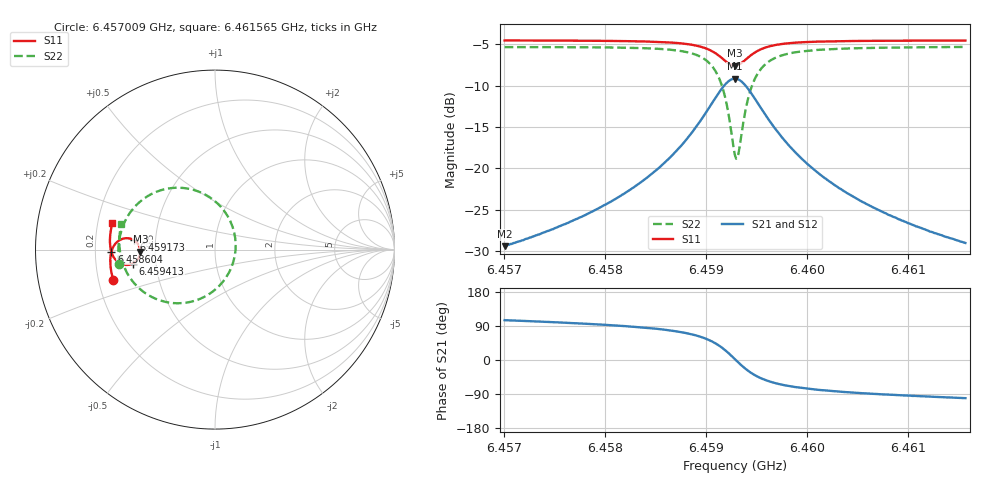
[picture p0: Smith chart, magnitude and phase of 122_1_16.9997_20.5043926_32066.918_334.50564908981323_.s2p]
#  HZ  S  RI  R  50.00
! Rohde & Schwarz Vector Network Analyzer
! Rohde-Schwarz,ZNB20-2Port,1311601062101988,3.16
! Created: UTC 3/20/2024, 10:57:34 PM
! freq[Hz]  re:S11  im:S11  re:S21  im:S21  re:S12  im:S12  re:S22  im:S22
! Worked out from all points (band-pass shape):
!   401 points, 6.457009 GHz to 6.461565 GHz, reference 50 ohm
!   highest |S21| = -9.17 dB at 6.459287 GHz (marker M1); lowest = -29.4 dB at 6.457009 GHz (marker M2)
!   |S21| within 3 dB of the highest: 6.459058 GHz to 6.459514 GHz (456.6 kHz wide, 0.00707 % of centre)
!   lowest |S11| = -7.6 dB at 6.459287 GHz (marker M3), VSWR 2.43, Z = 20.6 - j0.581 ohm
!   |S11| at or under -10 dB: nowhere
!   |S22| runs from -18.8 to -5.3 dB; largest |S21 - S12| = 0.014
!   S11 on the Smith chart (normalised r, x): 6.457009 GHz: 0.26, -0.14; 6.458604 GHz: 0.27, -0.01; 6.459173 GHz: 0.38, +0.05; 6.459413 GHz: 0.37, -0.07; 6.461565 GHz: 0.26, +0.12
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6.4570093e9  -0.5666 -0.1706  -0.00886 0.0327  -0.0071 0.0328  -0.5335 -0.0814
6.4577724e9  -0.5806 -0.1039  -0.00555 0.0508  -0.00299 0.0503  -0.5384 0.00819
6.4581825e9  -0.5834 -0.0628  0.000268 0.0698  0.00354 0.0685  -0.5302 0.0735
6.4585355e9  -0.5793 -0.0204  0.0147 0.0996  0.0186 0.0969  -0.5038 0.1534
6.4586039e9  -0.5771 -0.0108  0.0201 0.1083  0.0241 0.1049  -0.4936 0.1734
6.4587975e9  -0.5644 0.0196  0.047 0.1393  0.0511 0.1344  -0.4431 0.2428
6.4589456e9  -0.5414 0.046  0.0929 0.17  0.0961 0.1632  -0.3585 0.3072
6.4590823e9  -0.4968 0.0633  0.1813 0.1861  0.1821 0.1788  -0.1974 0.3446
6.4591734e9  -0.4518 0.0525  0.272 0.1537  0.2722 0.1479  -0.0299 0.2919
6.4592417e9  -0.4228 0.0198  0.3323 0.0806  0.3345 0.0754  0.0845 0.1599
6.4592873e9  -0.4161 -0.0116  0.3478 0.012  0.3516 0.00506  0.1153 0.0319
6.4592987e9  -0.4166 -0.0198  0.3476 -0.0057  0.3514 -0.0133  0.1144 -0.0019
6.4593215e9  -0.4202 -0.0354  0.3416 -0.0406  0.3454 -0.0497  0.1023 -0.0677
6.459367e9  -0.4361 -0.0617  0.3122 -0.1006  0.3144 -0.1124  0.043 -0.1804
6.4594126e9  -0.4584 -0.0781  0.2698 -0.1412  0.2689 -0.1545  -0.0428 -0.2543
6.4595037e9  -0.5022 -0.0847  0.1846 -0.1719  0.1784 -0.1835  -0.2122 -0.2989
6.4596518e9  -0.546 -0.0643  0.0966 -0.1578  0.0881 -0.1638  -0.3794 -0.2484
6.4598226e9  -0.5688 -0.0348  0.0494 -0.1277  0.0421 -0.1304  -0.4633 -0.1713
6.4600504e9  -0.5808 -0.00125  0.0224 -0.0978  0.0167 -0.0984  -0.5075 -0.0934
6.4603579e9  -0.5854 0.0359  0.00746 -0.073  0.0031 -0.0726  -0.5279 -0.0211
6.4608135e9  -0.5837 0.0822  -0.00128 -0.0522  -0.00418 -0.0513  -0.5331 0.0536
6.4615653e9  -0.5719 0.1489  -0.00656 -0.0348  -0.00823 -0.0339  -0.5217 0.1428
